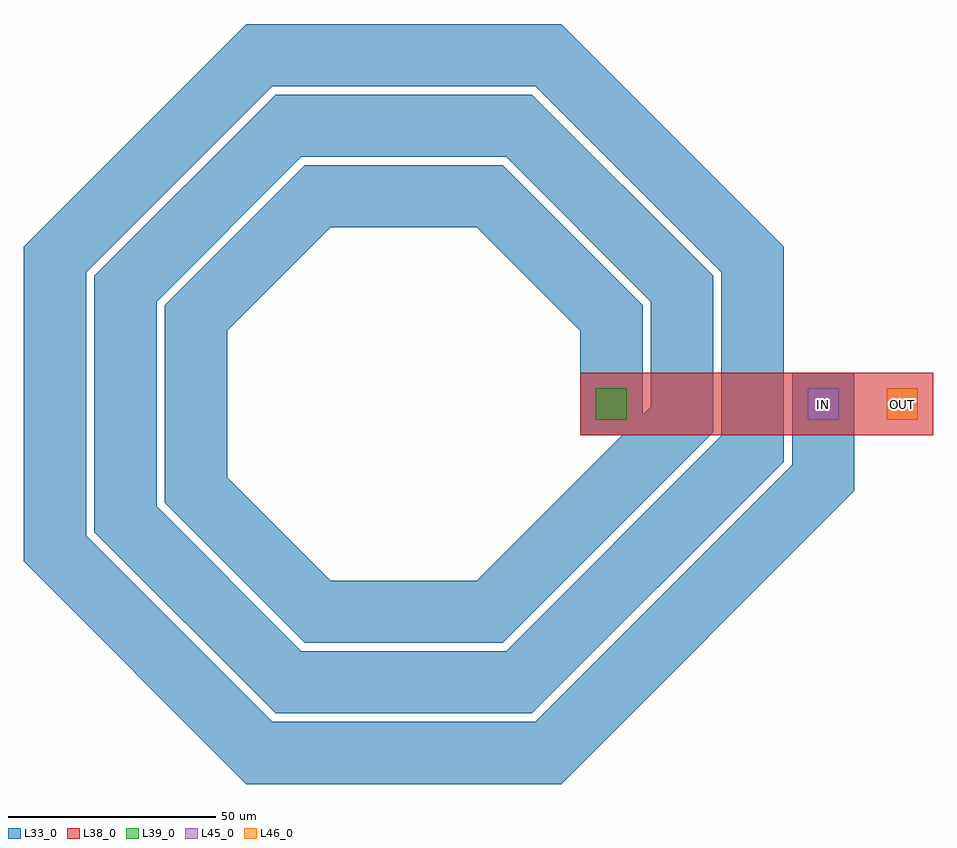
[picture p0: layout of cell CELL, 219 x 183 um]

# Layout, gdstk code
import gdstk
lib = gdstk.Library(unit=1e-6, precision=1e-09)
def R(c, l, rs):  # rectangles x0, y0, x1, y1
    for r in rs: c.add(gdstk.rectangle(r[:2], r[2:], *l))
L33_0 = (33, 0)
L38_0 = (38, 0)
L39_0 = (39, 0)
L45_0 = (45, 0)
L46_0 = (46, 0)

cell = lib.new_cell('CELL')
R(cell, L38_0, [(42.5,-7.5,127.5,7.5)])
R(cell, L39_0, [(46.25,-3.75,53.75,3.75)])
R(cell, L45_0, [(97.25,-3.75,104.75,3.75)])
R(cell, L46_0, [(116.25,-3.75,123.75,3.75)])
cell.add(gdstk.FlexPath([(50,0),(50,20.711),(35.355,35.355),(20.711,50),(-20.711,50),(-35.355,35.355),(-50,20.711),(-50,-20.711),(-35.355,-35.355),(-20.711,-50),(20.711,-50),(35.355,-35.355),(67,-3.711),(67,27.752),(27.752,67),(-27.752,67),(-67,27.752),(-67,-27.752),(-27.752,-67),(27.752,-67),(84,-10.752),(84,34.794),(34.794,84),(-34.794,84),(-84,34.794),(-84,-34.794),(-34.794,-84),(34.794,-84),(101,-17.794),(101,0)], 15, ends="extended", simple_path=True, layer=33, datatype=0))  # L33_0
cell.add(gdstk.Label('IN', (101,0), layer=45, texttype=0))
cell.add(gdstk.Label('OUT', (120,0), layer=46, texttype=0))

lib.write_gds('CELL.gds')
